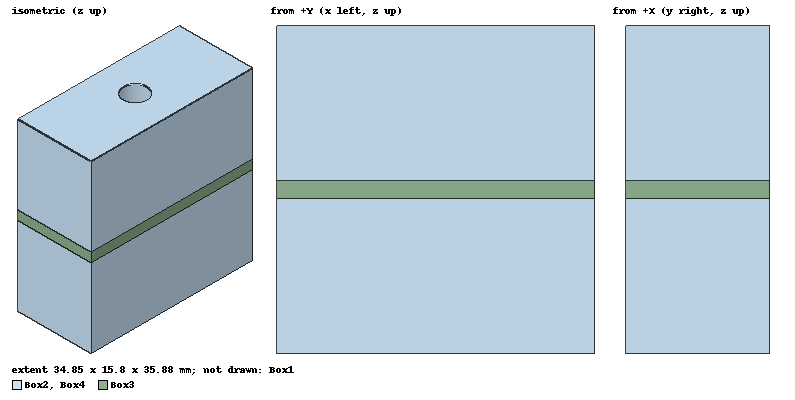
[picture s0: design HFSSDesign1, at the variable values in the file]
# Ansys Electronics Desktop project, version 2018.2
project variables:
  $Xsize = 34.85mm
  $Ysize = 15.8mm
  $Zsize = 100mm
  $CavityLength = 35.88mm
  $HoleRadius = 2.5mm
  $thickness = 2mm
  $epsilonR = 1
  $tandelta = 0.02
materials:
  vacuum: permittivity=1
  copper: permeability=0.999991 conductivity=58000000
  Material1: permittivity=2 dielectric_loss_tangent=$tandelta

design HFSSDesign1 (HFSS, Eigenmode, model units mm)
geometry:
  Box1 [vacuum] = box(corner=(0mm, 0mm, 0mm), size=($Xsize, $Ysize, $Zsize))
  Box2 [vacuum] = box(corner=(0mm, 0mm, $Zsize/2 -$CavityLength/2), size=($Xsize, $Ysize, $CavityLength/2-$thickness/2))
  Cylinder1 = cylinder(axis=Z, base_centre=($Xsize/2, $Ysize/2, $Zsize/2-$CavityLength/2-$thickness), radius=$HoleRadius, height=$CavityLength)
  Box2.subtract(Cylinder1)
  Box3 [Material1] = box(corner=(0mm, 0mm, $Zsize/2-$thickness/2), size=($Xsize, $Ysize, $thickness))
  Box4 [vacuum] = box(corner=(0mm, 0mm, $Zsize/2+$thickness/2), size=($Xsize, $Ysize, $CavityLength/2-$thickness/2))
  Cylinder2 = cylinder(axis=Z, base_centre=($Xsize/2, $Ysize/2, $Zsize/2-$CavityLength/2), radius=$HoleRadius, height=$CavityLength)
  Box4.subtract(Cylinder2)
  group Box_Group = Box1..Box4
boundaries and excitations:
  FiniteCond1: Finite Conductivity Faces=Box1.face(+y, +x, -y, -x) UseMaterial Material=copper IsInternal
  FiniteCond3: Finite Conductivity Faces=Box2.face(-z) UseMaterial Material=copper IsInternal
  FiniteCond4: Finite Conductivity Faces=Box4.face(+z) UseMaterial Material=copper IsInternal
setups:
  Setup1: HfssEigen MinimumFrequency=1.5GHz NumModes=1 MaxDeltaFreq=10 ConvergeOnRealFreq=true MaximumPasses=5 MinimumPasses=1 MinimumConvergedPasses=1 PercentRefinement=30 BasisOrder=1
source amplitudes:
  #-10:1: 1 0deg
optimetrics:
  ParametricSetup1: Parametric Sim._Setups=[Setup1]
    sweep $tandelta: LIN 0 1 0.05
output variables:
  P = sqrt(mag(S(1,1))^2+mag(S(2,1))^2)
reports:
  Eigen Q Plot 1: Q(1) vs $tandelta on Setup1 : AdaptivePass [$epsilonR=1 Pass=2]
